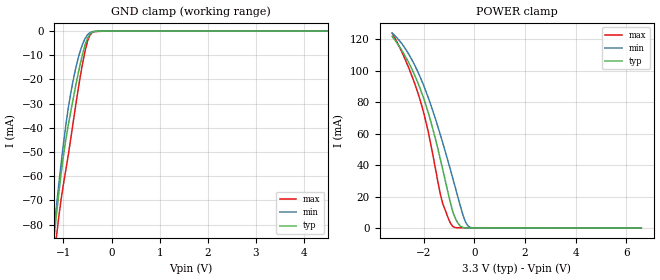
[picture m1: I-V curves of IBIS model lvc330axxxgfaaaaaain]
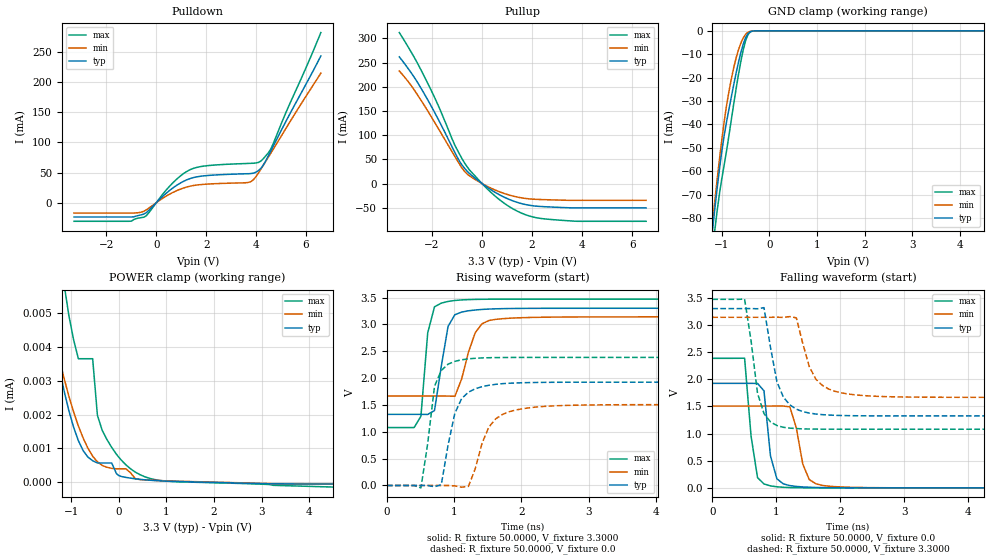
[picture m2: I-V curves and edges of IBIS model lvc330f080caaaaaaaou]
| IBIS Models Generator: Lattice Diamond (64-bit) 3.14.0.75.2
| Generate date: Tue Sep 29 20:27:15 2026
| IBIS File LibisMaker.ibs
| LibisGen v2.0.1.0, 02/25/2008, Lattice Semiconductor Corporation
| Modified by LibisMaker v2.0.1.0, 02/25/2008, Lattice Semiconductor
| North Carolina State University, ERL, 2006
[IBIS ver]   3.2
[File Name]   Zen68060Firmware_im~.ibs
[File Rev]   3.6
[Date]   Thu Aug  3 04:51:03 PDT 2023
[Source]   Lattice Semiconductor cs200fl Process
   LCMXO2-7000HC   FINAL
   Lattice Semiconductor has worked hard to ensure the
   models below are accurate and complete.  However, the
   data below was generated using simulation of the
   input/output model files for the silicon.  Therefore,
   the data below is for reference and initial design
   purposes only.
   Lattice Semiconductor grants permission to use this
   data for use in printed circuit design using this
   Lattice programmable logic device.  Other use of this
   code, including the selling or duplication of any
   portion is strictly prohibited.
|   NAMING CONVENTION
   The IBIS [Model] header is limited by the specification to a
   total of characters.  With such a set of characters available
   for naming models it becomes important to attempt to
   meaningfully encode the IO standards so they fit within the
   twenty character limit.  It would seem that twenty characters
   would provide room enough for describing IO's.  However, the
   PLD IO structure continues to grow more and more complex.  The
   complexity is making the twenty characters insuffiently
   descriptive.  In order to overcome this issue the naming
   convention described below is implemented to resolve the issue.
The twenty character space is managed as follows:
   bbbvvvsdddprugtcoixx
   b = standard
   v = voltage (x.xx V)
   s = slew code
   d = drive (xx.x ma)
   p = pullup code
   r = series resistance  or bank_vccio code
   u = terminate to vcc code
   g = terminate to gnd code
   t = terminate to vtt code
   c = common mode termination mode
   o = diff resistor code
   i = diff resistor current code
   x = reserved
   standard
   lvcmos   lvc
   lvcmosd   lvd
   lvcmosr   lvr
   lvds25e   lve
   lvttl   lvt
   lvttld   ltd
   pci   pci
   sstl_I   ss1
   sstl_II   ss2
   sstld_I   s1d
   sstld_II   s2d
   hstl_i   hs1
   hstl_ii   hs2
   hstld_i   h1d
   hstld_ii   h2d
   lvds25   lvs
   blvds25   blv
   blvds25e   blv
   mlvds25   mlv
   mlvds25e   mlv
   lvpecl33   lvp
   lvpecl33e   lvp
   rsds25   rsd
   rsds25e   rse
   mipi   mip
   mipi_lp   mip
   vref1   vr1
   vref2   vr2
   ref_res   rer
   slew
   na   a
   fast   f
   slow   s
   pullmode
   off   a
   pullup   b
   pulldown   c
   bushold   d
   clamp   e
   up_clamp   f
   down_clamp   g
   keeper_clamp   h
   impedance or Bank_vccio
   off   a
   25   b
   33   c
   50   d
   100   e
   3.3   f
   2.5   g
   1.8   h
   1.5   i
   1.2   j
   termVCC
   off   a
   50   b
   100   c
   120   d
   termGND
   off   a
   50   b
   100   c
   120   d
   termVTT
   off   a
   60   b
   75   c
   120   d
   150   e
   210   f
   VCMT
   off   a
   VCMT   b
   VTT   c
   DDR-2   d
   differential resistor
   off   a
   100   b
   diff drive
   NA   a
   2.0   b
   3.5   c
   1.25   f
   2.5   g
   Reserved   IO type
   in   input only
   ou   output
   io   I/O
   od   Open drain
   on   Inverting differential I/O
   (signal name only)
   op   Non-Inverting differential I/O
   (signal name only)
   Lattice Semiconductor Corporation
   5555 NE Moore Court
   Hillsboro, OR 97214
   U.S.A
   TEL: 1-800-Lattice (USA and Canada)
   408-826-6000 (other locations)
   web: http://www.latticesemi.com/
   email: techsupport@latticesemi.com
[Disclaimer] This IBIS source code is intended as a design reference
   which illustrates how the Lattice Semiconductor device operates.
   It is the user's responsibility to verify their design for
   consistency and functionality through the use of formal
   verification methods.  Lattice Semiconductor provides no warranty
   regarding the use or functionality of this data.
[Copyright]   Copyright 2007 by Lattice Semiconductor Corporation
|   Component XO2
[Component]   XO2
[Manufacturer]   Lattice Semiconductor Corp.
[Package]
|TQFP144
| variable   typ   min   max
R_pkg   159.8m   143.8m   177.3m
L_pkg   7.50nH   6.34nH   8.65nH
C_pkg   1.22pF   1.06pF   1.38pF
[Pin] signal_name   model_name   R_pin   L_pin   C_pin
120   A[23]   lvc330axxxgfaaaaaain
121   A[24]   lvc330axxxgfaaaaaain
122   A[25]   lvc330axxxgfaaaaaain
132   A[26]   lvc330axxxgfaaaaaain
133   A[27]   lvc330axxxgfaaaaaain
138   A[28]   lvc330axxxgfaaaaaain
139   A[29]   lvc330axxxgfaaaaaain
140   A[30]   lvc330axxxgfaaaaaain
141   A[31]   lvc330axxxgfaaaaaain
92   CLK   lvc330axxxgfaaaaaain
77   LOCK   lvc330f080caaaaaaaou
127   RAM_CS_N   lvc330f080caaaaaaaou
143   RAM_OE_N   lvc330f080caaaaaaaou
96   ROM_BUFFER_OE_N   lvc330f080caaaaaaaou
35   ROM_CS_N   lvc330f080caaaaaaaou
34   ROM_OE_N   lvc330f080caaaaaaaou
76   RST   lvc330axxxgfaaaaaain
75   RW_IN   lvc330axxxgfaaaaaain
73   RW_OUT   lvc330f080caaaaaaaou
142   TA_N   lvc330f080caaaaaaaou
74   TS_N   lvc330axxxgfaaaaaain
| Models and submodels in the file (2): lvc330axxxgfaaaaaain (Input), lvc330f080caaaaaaaou (Output)
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[Model]   lvc330axxxgfaaaaaain
Model_type   Input
Polarity   Non-Inverting
Enable   Active-Low
Vinl =   0.8000V
Vinh =   2.0000V
C_comp   4.2000pF   3.8000pF   7.5000pF
[Temperature Range]   25.0000   0.1250k   -40.0000
[Voltage Range]   3.3000V   3.1400V   3.4700V
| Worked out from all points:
|   GND clamp passes 1 mA (typ) near -0.43 V on its own axis
|   POWER clamp passes 1 mA (typ) near -0.53 V on its own axis
[GND_clamp]
|Voltage   I(typ)   I(min)   I(max)
-3.3V     -955.3mA   -930.3mA   -978mA
-1.2V     -86.21mA   -82.95mA   -94.94mA
-1.15V    -76.76mA   -73.31mA   -85.77mA
-1.1V     -67.73mA   -63.97mA   -77.32mA
-1V       -51.54mA   -46.59mA   -63.26mA
-900mV    -38.9mA    -31.9mA    -51.31mA
-800mV    -28.29mA   -20.61mA   -38.02mA
-700mV    -18.14mA   -11.66mA   -24.86mA
-600mV    -9.315mA   -5.302mA   -13.12mA
-450mV    -1.255mA   -637uA     -1.701mA
0V        0A         0A         0A
6.6V      0A         0A         0A
[POWER_clamp]
|Voltage   I(typ)   I(min)   I(max)
-3.25V    121.9mA    123.9mA    124.1mA
-2.65V    106.9mA    112.1mA    104.1mA
-2.35V    96.95mA    103.3mA    91.59mA
-2.05V    84.73mA    92.58mA    76.25mA
-1.65V    63.65mA    75mA       47.49mA
-1.35V    44.31mA    59.69mA    21.99mA
-1.25V    37.38mA    54.28mA    15.6mA
-850mV    10.32mA    31.58mA    939uA
-650mV    3.193mA    19.74mA    210uA
-350mV    132.1uA    3.862mA    199.7uA
-150mV    104.6uA    375.8uA    197.7uA
6.6V      -56.35nA   -1.463uA   -71.55uA
[Model]   lvc330f080caaaaaaaou
Model_type   Output
Polarity   Non-Inverting
Enable   Active-Low
Vmeas =   1.500000V
Cref =   0.0F
Rref =   1.0000M
Vref =   0.0V
C_comp   4.2000pF   3.8000pF   7.5000pF
[Temperature Range]   25.0000   0.1250k   -40.0000
[Voltage Range]   3.3000V   3.1400V   3.4700V
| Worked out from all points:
|   slope of the pulldown table from 0 to 0.495 V, typ, clamps not added: 26 ohm
|   slope of the pullup table from 0 to 0.495 V, typ, clamps not added: 28.5 ohm
|   GND clamp passes 1 mA (typ) near -0.44 V on its own axis
|   rising waveform, R_fixture 50.0000, V_fixture 3.3000: 20-80 % time 154ps typ, 209ps min, 115ps max; typ from 1.32 V to 3.3 V
|   rising waveform, R_fixture 50.0000, V_fixture 0.0: 20-80 % time 223ps typ, 283ps min, 159ps max; typ from 0 V to 1.92 V
|   falling waveform, R_fixture 50.0000, V_fixture 0.0: 20-80 % time 129ps typ, 176ps min, 130ps max; typ from 1.92 V to 0 V
|   falling waveform, R_fixture 50.0000, V_fixture 3.3000: 20-80 % time 228ps typ, 280ps min, 188ps max; typ from 3.3 V to 1.32 V
[Pulldown]
|Voltage   I(typ)   I(min)   I(max)
-3.3V     -23.68mA   -17.2mA    -30.83mA
-1.1V     -23.68mA   -17.2mA    -30.83mA
-500mV    -18.89mA   -14.22mA   -24.07mA
-400mV    -16.44mA   -11.92mA   -21.58mA
600mV     22.43mA    15.62mA    30.22mA
1.3V      39.15mA    26.81mA    53.52mA
2V        44.82mA    30.69mA    61.1mA
3.7V      48.02mA    33.59mA    65.1mA
3.9V      48.94mA    38.13mA    65.35mA
4.2V      57.11mA    55.89mA    69.15mA
4.6V      86.19mA    82.47mA    89.45mA
6.6V      243.1mA    214.6mA    281.9mA
[Pullup]
|Voltage   I(typ)   I(min)   I(max)
-3.3V     261.7mA    232.5mA    311.9mA
-2.8V     226.7mA    200.5mA    269.2mA
-2.2V     176mA      152.8mA    210.6mA
-1.7V     128mA      109.8mA    155.7mA
-1.1V     65.82mA    57.34mA    80.93mA
-800mV    38.24mA    32.1mA     51.4mA
-300mV    12.05mA    9.076mA    16.77mA
800mV     -26.11mA   -19.07mA   -37.53mA
1.5V      -40.43mA   -28.94mA   -59.42mA
2.3V      -47.34mA   -33.02mA   -71.88mA
3.8V      -50.39mA   -34.76mA   -78.11mA
6.55V     -50.39mA   -34.76mA   -78.11mA
[GND_clamp]
|Voltage   I(typ)   I(min)   I(max)
-3.3V     -955.3mA   -930.3mA   -978mA
-1.2V     -86.18mA   -82.93mA   -94.91mA
-1.15V    -76.73mA   -73.29mA   -85.74mA
-1.1V     -67.71mA   -63.95mA   -77.28mA
-1V       -51.52mA   -46.57mA   -63.21mA
-900mV    -38.87mA   -31.88mA   -51.26mA
-800mV    -28.25mA   -20.58mA   -37.97mA
-700mV    -18.1mA    -11.63mA   -24.81mA
-600mV    -9.267mA   -5.265mA   -13.06mA
-450mV    -1.181mA   -586.6uA   -1.592mA
-250mV    -3.532uA   -4.055uA   -3.003uA
6.6V      0A         0A         0A
[POWER_clamp]
|Voltage   I(typ)   I(min)   I(max)
-3.25V    664.8uA    749.4uA    597.1uA
-1.55V    5.916uA    5.714uA    11.4uA
-1.45V    4.989uA    4.976uA    9.753uA
-1.15V    2.705uA    3.075uA    5.865uA
-850mV    1.228uA    1.663uA    3.656uA
-550mV    632.9nA    768.1nA    3.656uA
-450mV    565.1nA    597.1nA    1.977uA
-150mV    565.1nA    405.8nA    1.026uA
0V        190.5nA    392.6nA    734.7nA
450mV     79.23nA    72.94nA    213.9nA
950mV     30.32nA    38.42nA    33.55nA
6.6V      -57.56nA   -49.34nA   -232.5nA
[Ramp]
| variable   typ   min   max
dV/dt_r  1.1542/0.2206n   0.9035/0.2801n   1.4308/0.1578n
dV/dt_f  1.1855/0.2259n   0.8843/0.2771n   1.4345/0.1863n
R_load = 50.0000
[Rising Waveform]
R_fixture=   50.0000
V_fixture=   3.3000
V_fixture_min=   3.1400
V_fixture_max=   3.4700
|time   V(typ)   V(min)   V(max)
0s        1.324V     1.666V     1.079V
404ps     1.324V     1.666V     1.079V
505.1ps   1.324V     1.666V     1.289V
606.1ps   1.323V     1.666V     2.842V
707.1ps   1.395V     1.666V     3.326V
909.1ps   2.964V     1.665V     3.427V
1.01ns    3.179V     1.661V     3.445V
1.313ns   3.268V     2.844V     3.465V
1.616ns   3.289V     3.093V     3.469V
10ns      3.3V       3.14V      3.47V
[Rising Waveform]
R_fixture=   50.0000
V_fixture=   0.0
V_fixture_min=   0.0
V_fixture_max=   0.0
|time   V(typ)   V(min)   V(max)
0s        830nV      1.065uV    812.2nV
505.1ps   15.3uV     909.1nV    -44.25mV
707.1ps   -23.18mV   20.06uV    1.847V
808.1ps   14.4mV     57.31uV    2.142V
1.01ns    1.345V     -7.638mV   2.312V
1.111ns   1.619V     -31.67mV   2.341V
1.212ns   1.738V     -17.55mV   2.358V
1.616ns   1.883V     1.24V      2.381V
2.121ns   1.916V     1.448V     2.384V
10ns      1.924V     1.506V     2.385V
[Falling Waveform]
R_fixture=   50.0000
V_fixture=   0.0
V_fixture_min=   0.0
V_fixture_max=   0.0
|time   V(typ)   V(min)   V(max)
0s        1.924V     1.506V     2.385V
505.1ps   1.924V     1.506V     2.387V
606.1ps   1.924V     1.506V     952mV
707.1ps   1.923V     1.506V     188.5mV
808.1ps   1.786V     1.506V     71.9mV
909.1ps   590.5mV    1.506V     36.28mV
1.212ns   41.57mV    1.49V      5.293mV
1.414ns   17.1mV     439.3mV    1.518mV
1.717ns   4.623mV    45.24mV    316.1uV
10ns      -628.1nV   9.184uV    2.185uV
[Falling Waveform]
R_fixture=   50.0000
V_fixture=   3.3000
V_fixture_min=   3.1400
V_fixture_max=   3.4700
|time   V(typ)   V(min)   V(max)
0s        3.3V       3.14V      3.47V
505.1ps   3.3V       3.14V      3.474V
707.1ps   3.297V     3.14V      1.741V
808.1ps   3.318V     3.14V      1.368V
1.01ns    1.953V     3.141V     1.147V
1.111ns   1.67V      3.138V     1.115V
1.313ns   1.448V     3.13V      1.091V
1.616ns   1.359V     2.004V     1.081V
2.121ns   1.329V     1.728V     1.079V
10ns      1.324V     1.666V     1.079V
